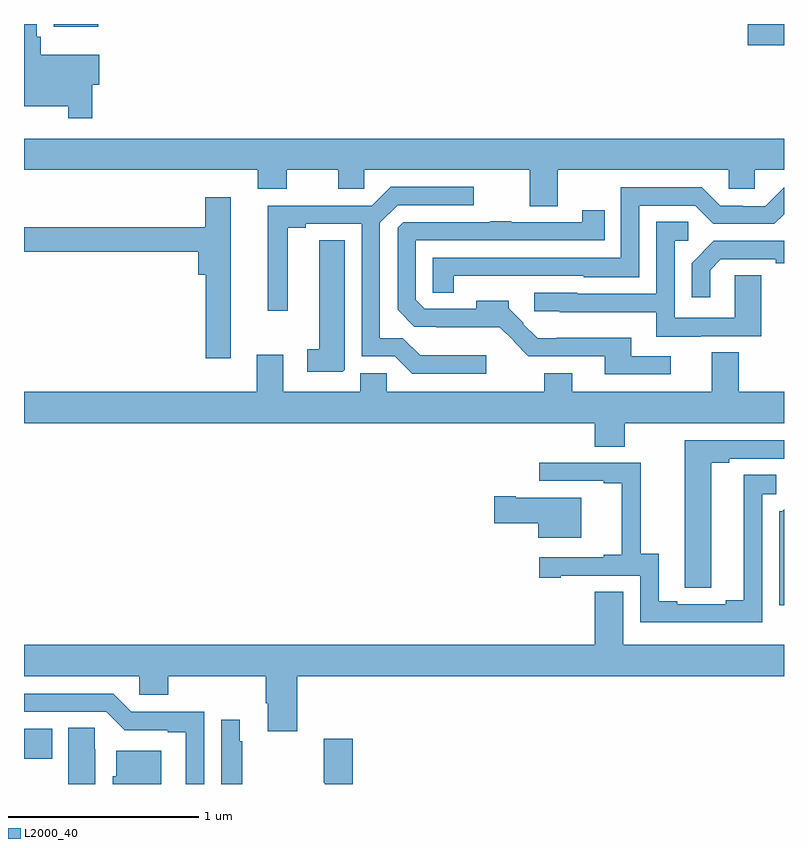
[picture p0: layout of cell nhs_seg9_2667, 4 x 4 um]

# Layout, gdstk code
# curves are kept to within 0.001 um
import gdstk
lib = gdstk.Library(unit=1e-6, precision=1e-09)
def R(c, l, rs):  # rectangles x0, y0, x1, y1
    for r in rs: c.add(gdstk.rectangle(r[:2], r[2:], *l))
def P(c, l, *ps):  # polygons
    for p in ps: c.add(gdstk.Polygon(p, *l))
L2000_40 = (2000, 40)

nhs_seg9_2667 = lib.new_cell('nhs_seg9_2667')
R(nhs_seg9_2667, L2000_40, [(263,1214.632,263.149,1214.791), (266.808,1218.389,267,1218.5), (263.156,1218.485,263.392,1218.5)])
P(nhs_seg9_2667, L2000_40, [(263.36,1218.179),(263.395,1218.179),(263.395,1218.337),(263.087,1218.337),(263.087,1218.433),(263.067,1218.433),(263.067,1218.5),(263,1218.5),(263,1218.068),(263.232,1218.068),(263.232,1218.003),(263.36,1218.003)],
  [(265.809,1217.732),(266.709,1217.732),(266.709,1217.634),(266.847,1217.634),(266.847,1217.732),(267,1217.732),(267,1217.896),(263,1217.896),(263,1217.732),(264.23,1217.732),(264.23,1217.633),(264.382,1217.633),(264.382,1217.732),(264.653,1217.732),(264.653,1217.634),(264.792,1217.634),(264.792,1217.732),(265.661,1217.732),(265.661,1217.542),(265.809,1217.542)],
  [(265.432,1216.756),(265.085,1216.756),(264.994,1216.847),(264.873,1216.847),(264.873,1217.454),(264.966,1217.547),(265.366,1217.547),(265.366,1217.643),(264.929,1217.643),(264.83,1217.544),(264.284,1217.544),(264.284,1216.992),(264.388,1216.992),(264.388,1217.428),(264.484,1217.428),(264.484,1217.448),(264.777,1217.448),(264.777,1216.752),(264.951,1216.752),(265.044,1216.659),(265.432,1216.659)],
  [(265.261,1217.174),(265.947,1217.175),(265.947,1217.168),(266.238,1217.168),(266.238,1217.544),(266.532,1217.544),(266.628,1217.448),(266.949,1217.448),(267,1217.499),(267,1217.64),(266.901,1217.541),(266.784,1217.541),(266.784,1217.544),(266.664,1217.544),(266.568,1217.64),(266.142,1217.64),(266.142,1217.271),(265.152,1217.271),(265.152,1217.086),(265.261,1217.086)],
  [(264.088,1217.587),(263.954,1217.587),(263.954,1217.431),(263,1217.431),(263,1217.302),(263.918,1217.302),(263.918,1217.18),(263.957,1217.18),(263.957,1216.74),(264.088,1216.74)],
  [(266.404,1216.752),(266.197,1216.752),(266.197,1216.849),(265.804,1216.849),(265.804,1216.847),(265.703,1216.847),(265.626,1216.923),(265.629,1216.926),(265.55,1217.005),(265.55,1217.044),(265.379,1217.044),(265.379,1217.001),(265.11,1217.001),(265.062,1217.049),(265.062,1217.361),(266.057,1217.361),(266.057,1217.521),(265.939,1217.521),(265.939,1217.457),(265.565,1217.457),(265.565,1217.462),(265.453,1217.462),(265.453,1217.457),(264.996,1217.457),(264.966,1217.427),(264.966,1216.995),(265.055,1216.906),(265.171,1216.906),(265.171,1216.904),(265.505,1216.905),(265.579,1216.831),(265.577,1216.829),(265.653,1216.752),(266.057,1216.752),(266.057,1216.656),(266.404,1216.656)],
  [(266.563,1216.857),(266.881,1216.857),(266.881,1217.177),(266.742,1217.177),(266.742,1216.953),(266.424,1216.953),(266.424,1217.358),(266.497,1217.358),(266.497,1217.459),(266.328,1217.459),(266.328,1217.079),(265.911,1217.079),(265.911,1217.085),(265.686,1217.085),(265.686,1216.989),(265.821,1216.989),(265.821,1216.982),(266.327,1216.982),(266.327,1216.853),(266.563,1216.853)],
  [(264.688,1216.681),(264.688,1217.363),(264.554,1217.363),(264.554,1216.787),(264.492,1216.787),(264.492,1216.671),(264.678,1216.671)],
  [(266.611,1217.205),(266.668,1217.262),(266.957,1217.262),(266.957,1217.242),(267,1217.242),(267,1217.358),(266.63,1217.358),(266.514,1217.242),(266.514,1217.061),(266.611,1217.061)],
  [(266.163,1216.4),(267,1216.4),(267,1216.564),(266.761,1216.564),(266.761,1216.772),(266.621,1216.772),(266.621,1216.564),(265.885,1216.564),(265.885,1216.663),(265.738,1216.663),(265.738,1216.564),(264.909,1216.564),(264.909,1216.662),(264.77,1216.662),(264.77,1216.564),(264.364,1216.564),(264.364,1216.759),(264.224,1216.759),(264.224,1216.564),(263,1216.564),(263,1216.4),(266.003,1216.4),(266.003,1216.276),(266.163,1216.276)],
  [(266.617,1216.192),(266.713,1216.192),(266.713,1216.212),(267,1216.212),(267,1216.308),(266.477,1216.308),(266.477,1215.64),(266.478,1215.64),(266.478,1215.532),(266.617,1215.532)],
  [(266.886,1216.026),(266.959,1216.026),(266.959,1216.127),(266.789,1216.127),(266.789,1215.467),(266.693,1215.467),(266.693,1215.447),(266.437,1215.447),(266.437,1215.462),(266.341,1215.462),(266.341,1215.713),(266.247,1215.713),(266.247,1216.191),(265.713,1216.191),(265.713,1216.095),(266.051,1216.095),(266.051,1216.083),(266.147,1216.083),(266.147,1215.706),(266.051,1215.706),(266.051,1215.693),(265.713,1215.693),(265.713,1215.585),(265.825,1215.585),(265.825,1215.597),(266.244,1215.597),(266.244,1215.351),(266.886,1215.351)],
  [(265.933,1216.006),(265.588,1216.006),(265.588,1216.014),(265.476,1216.014),(265.476,1215.872),(265.706,1215.872),(265.706,1215.797),(265.933,1215.797)],
  [(267,1215.945),(266.991,1215.936),(266.976,1215.936),(266.976,1215.44),(267,1215.44)],
  [(264.437,1215.068),(267,1215.068),(267,1215.232),(266.155,1215.232),(266.155,1215.512),(266.003,1215.512),(266.003,1215.232),(263,1215.232),(263,1215.068),(263.607,1215.068),(263.607,1214.97),(263.759,1214.97),(263.759,1215.068),(264.272,1215.068),(264.272,1214.926),(264.284,1214.926),(264.284,1214.778),(264.437,1214.778)],
  [(263.949,1214.88),(263.565,1214.88),(263.469,1214.976),(263,1214.976),(263,1214.88),(263.433,1214.88),(263.529,1214.784),(263.756,1214.784),(263.756,1214.772),(263.852,1214.772),(263.852,1214.5),(263.949,1214.5)],
  [(264.148,1214.726),(264.136,1214.726),(264.136,1214.839),(264.039,1214.839),(264.039,1214.5),(264.148,1214.5)],
  [(263.374,1214.684),(263.373,1214.684),(263.373,1214.795),(263.234,1214.795),(263.234,1214.5),(263.374,1214.5)],
  [(264.731,1214.737),(264.577,1214.737),(264.577,1214.506),(264.584,1214.506),(264.584,1214.5),(264.731,1214.5)],
  [(263.722,1214.674),(263.486,1214.674),(263.486,1214.541),(263.468,1214.541),(263.468,1214.5),(263.722,1214.5)])

lib.write_gds('nhs_seg9_2667.gds')
